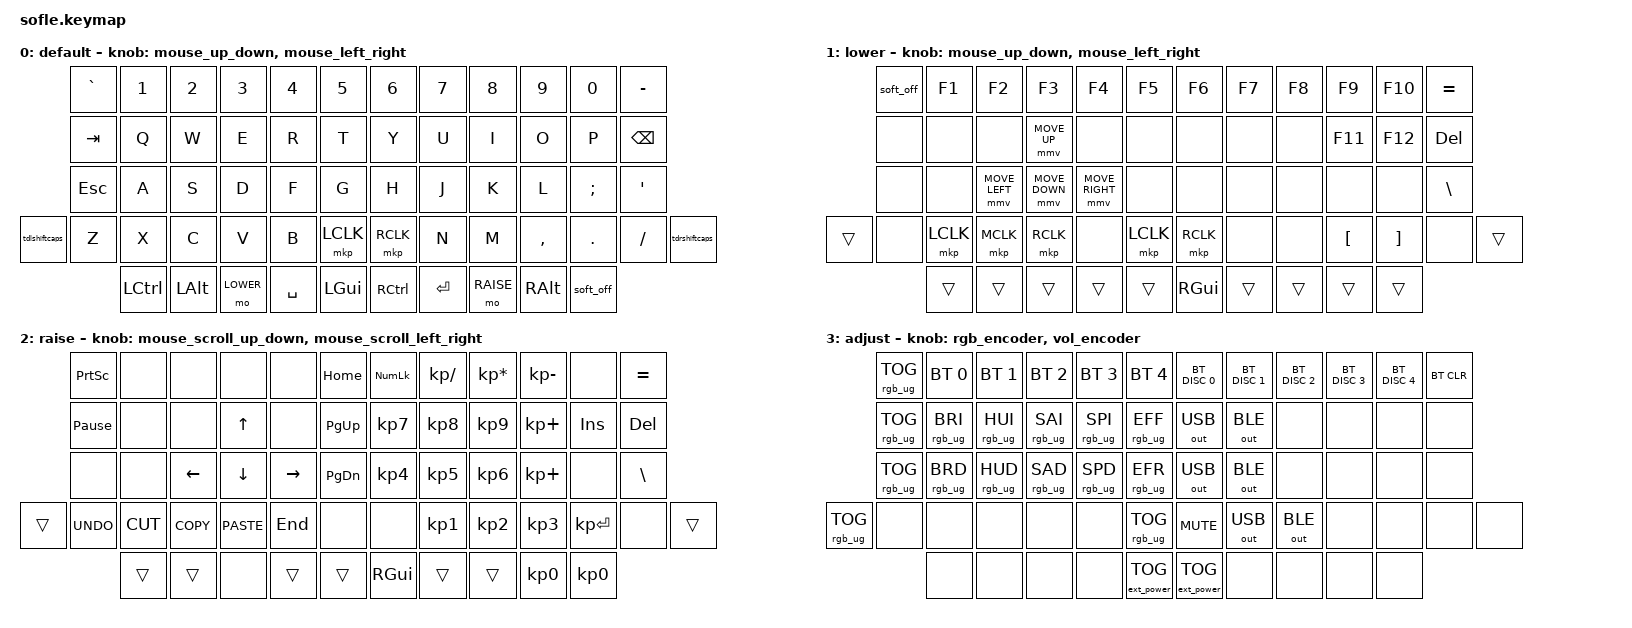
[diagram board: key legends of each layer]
/*
 * Copyright (c) 2020 The ZMK Contributors
 *
 * SPDX-License-Identifier: MIT
 */

#include <behaviors.dtsi>
#include <dt-bindings/zmk/keys.h>
#include <dt-bindings/zmk/bt.h>
#include <dt-bindings/zmk/rgb.h>
#include <dt-bindings/zmk/ext_power.h>
#include <dt-bindings/zmk/outputs.h>

#define ZMK_MOUSE_DEFAULT_MOVE_VAL 8000//800
#define ZMK_MOUSE_DEFAULT_SCRL_VAL 100//10

#include <dt-bindings/zmk/mouse.h>

#define BASE 0
#define LOWER 1
#define RAISE 2
#define ADJUST 3


&sl {
    release-after-ms = <500>;
    /delete-property/ quick-release;
};


&soft_off {
    hold-time-ms = <1500>; // Only turn off it the key is held for these milliseconds or longer.
};

/ {

    behaviors {
        vol_encoder: behavior_vol_encoder {
            compatible = "zmk,behavior-sensor-rotate";
            #sensor-binding-cells = <0>;
            bindings = <&kp C_VOL_UP>, <&kp C_VOL_DN>;
        };

        rgb_encoder: behavior_rgb_encoder {
            compatible = "zmk,behavior-sensor-rotate";
            #sensor-binding-cells = <0>;
            bindings = <&rgb_ug RGB_BRI>, <&rgb_ug RGB_BRD>;
        };

        mouse_up_down: behavior_mouse_up_down {
            compatible = "zmk,behavior-sensor-rotate";
            #sensor-binding-cells = <0>;
            bindings = <&mmv MOVE_UP>, <&mmv MOVE_DOWN>;
            tap-ms = < 25 >;
        };

        mouse_left_right: behavior_mouse_left_right {
            compatible = "zmk,behavior-sensor-rotate";
            #sensor-binding-cells = <0>;
            bindings = <&mmv MOVE_RIGHT>, <&mmv MOVE_LEFT>;
            tap-ms = < 25 >;
        };

        mouse_scroll_up_down: behavior_mouse_scroll_up_down {
            compatible = "zmk,behavior-sensor-rotate";
            #sensor-binding-cells = <0>;
            bindings = <&msc SCRL_UP>, <&msc SCRL_DOWN>;
            tap-ms = < 25 >;
        };

        mouse_scroll_left_right: behavior_mouse_scroll_left_right {
            compatible = "zmk,behavior-sensor-rotate";
            #sensor-binding-cells = <0>;
            bindings = <&msc SCRL_RIGHT>, <&msc SCRL_LEFT>;
            tap-ms = < 25 >;
        };


        tdrshiftcaps: tap_dance_caps_r {
            compatible = "zmk,behavior-tap-dance";
            #binding-cells = <0>;
            tapping-term-ms = <200>;
            bindings = <&kp RSHIFT>, <&kp RSHIFT>, <&kp CAPSLOCK>;
        };


        tdlshiftcaps: tap_dance_caps_l {
            compatible = "zmk,behavior-tap-dance";
            #binding-cells = <0>;
            tapping-term-ms = <200>;
            bindings = <&kp LSHIFT>, <&kp LSHIFT>, <&kp CAPSLOCK>;
        };
    };

   // Activate ADJUST layer by pressing raise and lower
    conditional_layers {
        compatible = "zmk,conditional-layers";
        adjust_layer {
            if-layers = <LOWER RAISE>;
            then-layer = <ADJUST>;
        };
    };

    keymap {

        compatible = "zmk,keymap";

        default_layer {
            display-name = "default";

            bindings = <
&kp GRAVE &kp N1 &kp N2 &kp N3 &kp N4 &kp N5 &kp N6 &kp N7 &kp N8 &kp N9 &kp N0 &kp MINUS 
&kp TAB &kp Q &kp W &kp E &kp R &kp T &kp Y &kp U &kp I &kp O &kp P &kp BSPC 
&kp ESC &kp A &kp S &kp D &kp F &kp G &kp H &kp J &kp K &kp L &kp SEMI &kp SQT 
&tdlshiftcaps &kp Z &kp X &kp C &kp V &kp B &mkp LCLK &mkp RCLK &kp N &kp M &kp COMMA &kp DOT &kp FSLH &tdrshiftcaps 
&kp LCTRL &kp LALT &mo LOWER &kp SPACE &kp LGUI &kp RCTRL &kp RET &mo RAISE &kp RALT &soft_off 

            >;

            sensor-bindings = <&mouse_up_down &mouse_left_right>;
        };

        lower_layer {
            display-name = "lower";

            bindings = <
&soft_off &kp F1 &kp F2 &kp F3 &kp F4 &kp F5 &kp F6 &kp F7 &kp F8 &kp F9 &kp F10 &kp EQUAL 
&none &none &none &mmv MOVE_UP &none &none &none &none &none &kp F11 &kp F12 &kp DEL 
&none &none &mmv MOVE_LEFT &mmv MOVE_DOWN &mmv MOVE_RIGHT &none &none &none &none &none &none &kp BACKSLASH 
&trans &none &mkp LCLK &mkp MCLK &mkp RCLK &none &mkp LCLK &mkp RCLK &none &none &kp LEFT_BRACKET &kp RIGHT_BRACKET &none &trans 
&trans &trans &trans &trans &trans &kp RGUI &trans &trans &trans &trans 

            >;

            sensor-bindings = <&mouse_up_down &mouse_left_right>;
        };

        raise_layer {
            display-name = "raise";

            bindings = <
&kp PSCRN &none &none &none &none &kp HOME &kp KP_NUM &kp KP_DIVIDE &kp KP_MULTIPLY &kp KP_MINUS &none &kp EQUAL 
&kp PAUSE_BREAK &none &none &kp UP &none &kp PG_UP &kp KP_N7 &kp KP_N8 &kp KP_N9 &kp KP_PLUS &kp INS &kp DEL 
&none &none &kp LEFT &kp DOWN &kp RIGHT &kp PG_DN &kp KP_N4 &kp KP_N5 &kp KP_N6 &kp KP_PLUS &none &kp BACKSLASH 
&trans &kp K_UNDO &kp K_CUT &kp K_COPY &kp K_PASTE &kp END &none &none &kp KP_N1 &kp KP_N2 &kp KP_N3 &kp KP_ENTER &none &trans 
&trans &trans &none &trans &trans &kp RGUI &trans &trans &kp KP_N0 &kp KP_N0 

            >;

            sensor-bindings = <&mouse_scroll_up_down &mouse_scroll_left_right>;
        };

        adjust_layer {
            display-name = "adjust";

            bindings = <
&rgb_ug RGB_TOG &bt BT_SEL 0 &bt BT_SEL 1 &bt BT_SEL 2 &bt BT_SEL 3 &bt BT_SEL 4 &bt BT_DISC 0 &bt BT_DISC 1 &bt BT_DISC 2 &bt BT_DISC 3 &bt BT_DISC 4 &bt BT_CLR 
&rgb_ug RGB_TOG &rgb_ug RGB_BRI &rgb_ug RGB_HUI &rgb_ug RGB_SAI &rgb_ug RGB_SPI &rgb_ug RGB_EFF &out OUT_USB &out OUT_BLE &none &none &none &none 
&rgb_ug RGB_TOG &rgb_ug RGB_BRD &rgb_ug RGB_HUD &rgb_ug RGB_SAD &rgb_ug RGB_SPD &rgb_ug RGB_EFR &out OUT_USB &out OUT_BLE &none &none &none &none 
&rgb_ug RGB_TOG &none &none &none &none &none &rgb_ug RGB_TOG &kp C_MUTE &out OUT_USB &out OUT_BLE &none &none &none &none 
&none &none &none &none &ext_power EP_TOG &ext_power EP_TOG &none &none &none &none 

            >;

            sensor-bindings = <&rgb_encoder &vol_encoder>;
        };



    };
};

